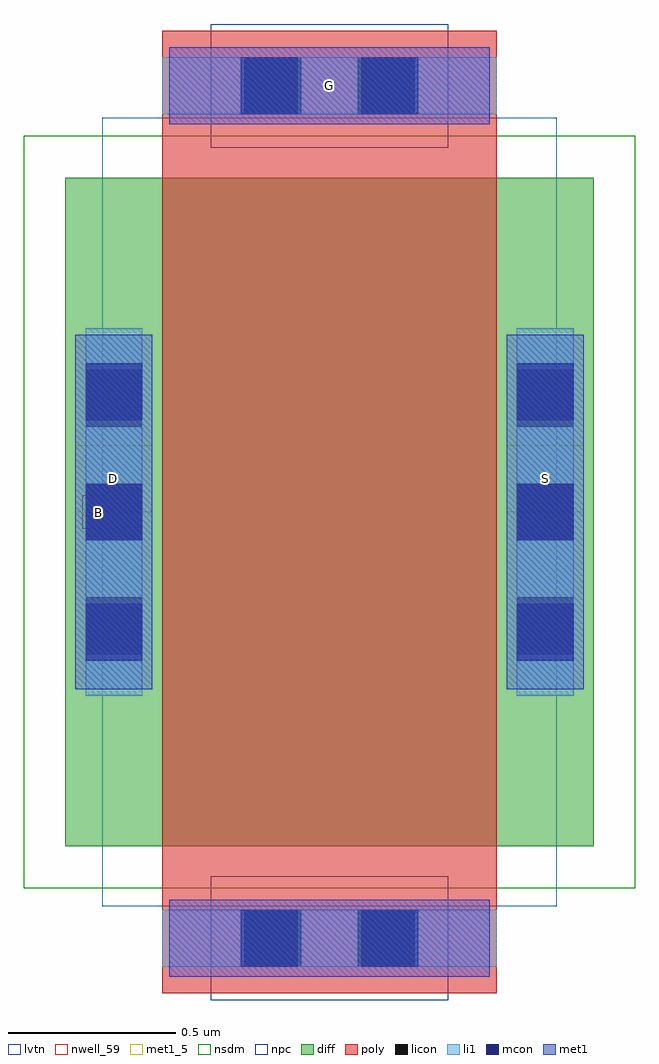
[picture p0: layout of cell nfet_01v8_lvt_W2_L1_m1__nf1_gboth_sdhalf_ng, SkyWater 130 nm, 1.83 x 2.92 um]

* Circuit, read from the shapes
.subckt nfet_01v8_lvt_W2_L1_m1__nf1_gboth_sdhalf_ng B D G S
XM1 S G D B sky130_fd_pr__nfet_01v8_lvt w=2 l=1
.ends

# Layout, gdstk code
import gdstk
lib = gdstk.Library(unit=1e-6, precision=1e-09)
def R(c, l, rs):  # rectangles x0, y0, x1, y1
    for r in rs: c.add(gdstk.rectangle(r[:2], r[2:], *l))
def A(c, l, x, y, w, h, nx, ny, dx, dy):  # array of equal rectangles
    R(c, l, [(x+i*dx, y+j*dy, x+i*dx+w, y+j*dy+h) for i in range(nx) for j in range(ny)])
nwell_59 = (64, 59)
diff = (65, 20)
poly = (66, 20)
licon = (66, 44)
li1 = (67, 20)
mcon = (67, 44)
met1_5 = (68, 5)
met1 = (68, 20)
nsdm = (93, 44)
npc = (95, 20)
lvtn = (125, 44)

sky130_fd_pr__nfet_01v8_ = lib.new_cell('sky130_fd_pr__nfet_01v8_lvt_EN3JK4')
R(sky130_fd_pr__nfet_01v8_, diff, [(-0.79,-1,0.79,1)])
R(sky130_fd_pr__nfet_01v8_, poly, [(-0.5,-1.44,0.5,1.44)])
A(sky130_fd_pr__nfet_01v8_, licon, -0.73, -0.425, 0.17, 0.17, 1, 3, 0, 0.34)
A(sky130_fd_pr__nfet_01v8_, licon, 0.56, -0.425, 0.17, 0.17, 1, 3, 0, 0.34)
R(sky130_fd_pr__nfet_01v8_, licon, [(-0.255,-1.36,-0.085,-1.19), (0.085,-1.36,0.255,-1.19), (-0.255,1.19,-0.085,1.36), (0.085,1.19,0.255,1.36)])
R(sky130_fd_pr__nfet_01v8_, li1, [(-0.5,-1.36,0.5,-1.19), (-0.73,-0.55,-0.56,0.55), (0.56,-0.55,0.73,0.55), (-0.5,1.19,0.5,1.36)])
A(sky130_fd_pr__nfet_01v8_, mcon, -0.73, -0.445, 0.17, 0.17, 1, 3, 0, 0.36)
A(sky130_fd_pr__nfet_01v8_, mcon, 0.56, -0.445, 0.17, 0.17, 1, 3, 0, 0.36)
R(sky130_fd_pr__nfet_01v8_, mcon, [(-0.265,-1.36,-0.095,-1.19), (0.095,-1.36,0.265,-1.19), (-0.265,1.19,-0.095,1.36), (0.095,1.19,0.265,1.36)])
R(sky130_fd_pr__nfet_01v8_, met1, [(-0.48,-1.39,0.48,-1.16), (-0.76,-0.53,-0.53,0.53), (0.53,-0.53,0.76,0.53), (-0.48,1.16,0.48,1.39)])
R(sky130_fd_pr__nfet_01v8_, nsdm, [(-0.915,-1.125,0.915,1.125)])
R(sky130_fd_pr__nfet_01v8_, npc, [(-0.355,-1.46,0.355,-1.09), (-0.355,1.09,0.355,1.46)])
R(sky130_fd_pr__nfet_01v8_, lvtn, [(-0.68,-1.18,0.68,1.18)])
sky130_fd_pr__nfet_01v8_.add(gdstk.Label('D', (-0.645,0), layer=67, texttype=5))
sky130_fd_pr__nfet_01v8_.add(gdstk.Label('S', (0.645,0), layer=67, texttype=5))
sky130_fd_pr__nfet_01v8_.add(gdstk.Label('G', (0,1.275), layer=67, texttype=5))

nfet_01v8_lvt_w2_l1_m1__ = lib.new_cell('nfet_01v8_lvt_W2_L1_m1__nf1_gboth_sdhalf_ng')
R(nfet_01v8_lvt_w2_l1_m1__, nwell_59, [(0.05,1.39,0.15,1.49)])
R(nfet_01v8_lvt_w2_l1_m1__, met1_5, [(0.03,1.44,0.26,1.64), (1.32,1.44,1.55,1.64), (0.31,2.6,1.27,2.83)])
R(nfet_01v8_lvt_w2_l1_m1__, met1, [(0.03,1.44,0.26,1.64), (1.32,1.44,1.55,1.64), (0.31,2.6,1.27,2.83)])
nfet_01v8_lvt_w2_l1_m1__.add(gdstk.Reference(sky130_fd_pr__nfet_01v8_, (0.79,1.44)))
nfet_01v8_lvt_w2_l1_m1__.add(gdstk.Label('D', (0.145,1.54), layer=68, texttype=5))
nfet_01v8_lvt_w2_l1_m1__.add(gdstk.Label('S', (1.435,1.54), layer=68, texttype=5))
nfet_01v8_lvt_w2_l1_m1__.add(gdstk.Label('G', (0.79,2.715), layer=68, texttype=5))
nfet_01v8_lvt_w2_l1_m1__.add(gdstk.Label('B', (0.1,1.44), layer=64, texttype=59))

lib.write_gds('nfet_01v8_lvt_W2_L1_m1__nf1_gboth_sdhalf_ng.gds')
